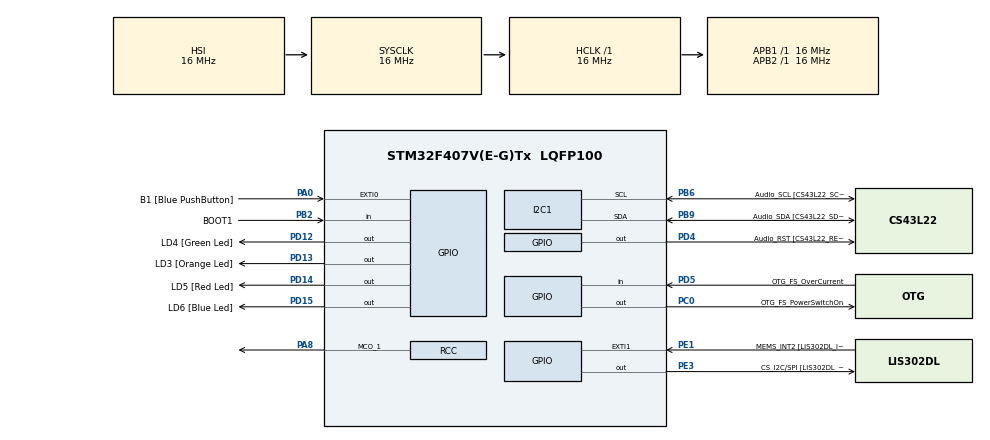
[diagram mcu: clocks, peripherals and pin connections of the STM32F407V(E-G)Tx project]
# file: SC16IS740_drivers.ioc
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Mcu.Family=STM32F4
Mcu.Name=STM32F407V(E-G)Tx
Mcu.Package=LQFP100
NVIC.PriorityGroup=NVIC_PRIORITYGROUP_0
PA0-WKUP.GPIO_Label=B1 [Blue PushButton]
PA0-WKUP.GPIO_ModeDefaultEXTI=GPIO_MODE_EVT_RISING
PA0-WKUP.GPIO_PuPd=GPIO_NOPULL
PA0-WKUP.Signal=GPXTI0
PA10.GPIO_Label=OTG_FS_ID
PA10.GPIO_Mode=GPIO_MODE_AF_PP
PA10.GPIO_PuPd=GPIO_NOPULL
PA10.GPIO_Speed=GPIO_SPEED_FREQ_LOW
PA10.Signal=USB_OTG_FS_ID
PA11.GPIO_Label=OTG_FS_DM
PA11.GPIO_Mode=GPIO_MODE_AF_PP
PA11.GPIO_PuPd=GPIO_NOPULL
PA11.GPIO_Speed=GPIO_SPEED_FREQ_LOW
PA11.Signal=USB_OTG_FS_DM
PA12.GPIO_Label=OTG_FS_DP
PA12.GPIO_Mode=GPIO_MODE_AF_PP
PA12.GPIO_PuPd=GPIO_NOPULL
PA12.GPIO_Speed=GPIO_SPEED_FREQ_LOW
PA12.Signal=USB_OTG_FS_DP
PA13.GPIO_Label=SWDIO
PA13.Mode=Serial_Wire
PA13.Signal=SYS_JTMS-SWDIO
PA14.GPIO_Label=SWCLK
PA14.Mode=Serial_Wire
PA14.Signal=SYS_JTCK-SWCLK
PA4.GPIO_Label=I2S3_WS [CS43L22_LRCK]
PA4.GPIO_Mode=GPIO_MODE_AF_PP
PA4.GPIO_PuPd=GPIO_NOPULL
PA4.GPIO_Speed=GPIO_SPEED_FREQ_LOW
PA4.Signal=I2S3_WS
PA5.GPIO_Label=SPI1_SCK [LIS302DL_SCL/SPC]
PA5.GPIO_Mode=GPIO_MODE_AF_PP
PA5.GPIO_PuPd=GPIO_NOPULL
PA5.GPIO_Speed=GPIO_SPEED_FREQ_LOW
PA5.Signal=SPI1_SCK
PA6.GPIO_Label=SPI1_MISO [LIS302DL_SDO]
PA6.GPIO_Mode=GPIO_MODE_AF_PP
PA6.GPIO_PuPd=GPIO_NOPULL
PA6.GPIO_Speed=GPIO_SPEED_FREQ_LOW
PA6.Signal=SPI1_MISO
PA7.GPIO_Label=SPI1_MOSI [LIS302DL_SDA/SDI/SDO]
PA7.GPIO_Mode=GPIO_MODE_AF_PP
PA7.GPIO_PuPd=GPIO_NOPULL
PA7.GPIO_Speed=GPIO_SPEED_FREQ_LOW
PA7.Signal=SPI1_MOSI
PA8.Mode=Clock-out-1
PA8.Signal=RCC_MCO_1
PA9.GPIO_Label=VBUS_FS
PA9.GPIO_Mode=GPIO_MODE_INPUT
PA9.GPIO_PuPd=GPIO_NOPULL
PA9.Signal=USB_OTG_FS_VBUS
PB10.GPIO_Label=CLK_IN [MP45DT02_CLK]
PB10.GPIO_Mode=GPIO_MODE_AF_PP
PB10.GPIO_PuPd=GPIO_NOPULL
PB10.GPIO_Speed=GPIO_SPEED_FREQ_LOW
PB10.Signal=I2S2_CK
PB2.GPIO_Label=BOOT1
PB2.GPIO_Mode=GPIO_MODE_INPUT
PB2.GPIO_PuPd=GPIO_NOPULL
PB2.Signal=GPIO_Input
PB3.GPIO_Label=SWO
PB3.Signal=SYS_JTDO-SWO
PB6.GPIO_Label=Audio_SCL [CS43L22_SCL]
PB6.GPIO_Mode=GPIO_MODE_AF_OD
PB6.GPIO_Pu=GPIO_PULLUP
PB6.GPIO_PuPd=GPIO_NOPULL
PB6.GPIO_Speed=GPIO_SPEED_FREQ_LOW
PB6.Mode=I2C
PB6.Signal=I2C1_SCL
PB9.GPIO_Label=Audio_SDA [CS43L22_SDA]
PB9.GPIO_Mode=GPIO_MODE_AF_OD
PB9.GPIO_Pu=GPIO_PULLUP
PB9.GPIO_PuPd=GPIO_NOPULL
PB9.GPIO_Speed=GPIO_SPEED_FREQ_LOW
PB9.Mode=I2C
PB9.Signal=I2C1_SDA
PC0.GPIO_Label=OTG_FS_PowerSwitchOn
PC0.GPIO_PuPd=GPIO_NOPULL
PC0.GPIO_Speed=GPIO_SPEED_FREQ_LOW
PC0.PinState=GPIO_PIN_SET
PC0.Signal=GPIO_Output
PC10.GPIO_Label=I2S3_SCK [CS43L22_SCLK]
PC10.GPIO_Mode=GPIO_MODE_AF_PP
PC10.GPIO_PuPd=GPIO_NOPULL
PC10.GPIO_Speed=GPIO_SPEED_FREQ_LOW
PC10.Signal=I2S3_CK
PC12.GPIO_Label=I2S3_SD [CS43L22_SDIN]
PC12.GPIO_Mode=GPIO_MODE_AF_PP
PC12.GPIO_PuPd=GPIO_NOPULL
PC12.GPIO_Speed=GPIO_SPEED_FREQ_LOW
PC12.Signal=I2S3_SD
PC14-OSC32_IN.GPIO_Label=PC14-OSC32_IN
PC14-OSC32_IN.Mode=LSE-External-Oscillator
PC14-OSC32_IN.Signal=RCC_OSC32_IN
PC15-OSC32_OUT.GPIO_Label=PC15-OSC32_OUT
PC15-OSC32_OUT.Mode=LSE-External-Oscillator
PC15-OSC32_OUT.Signal=RCC_OSC32_OUT
PC3.GPIO_Label=PDM_OUT [MP45DT02_DOUT]
PC3.GPIO_Mode=GPIO_MODE_AF_PP
PC3.GPIO_PuPd=GPIO_NOPULL
PC3.GPIO_Speed=GPIO_SPEED_FREQ_LOW
PC3.Signal=I2S2_SD
PC7.GPIO_Label=I2S3_MCK [CS43L22_MCLK]
PC7.GPIO_Mode=GPIO_MODE_AF_PP
PC7.GPIO_PuPd=GPIO_NOPULL
PC7.GPIO_Speed=GPIO_SPEED_FREQ_LOW
PC7.Signal=I2S3_MCK
PD12.GPIO_Label=LD4 [Green Led]
PD12.GPIO_PuPd=GPIO_NOPULL
PD12.GPIO_Speed=GPIO_SPEED_FREQ_LOW
PD12.Signal=GPIO_Output
PD13.GPIO_Label=LD3 [Orange Led]
PD13.GPIO_PuPd=GPIO_NOPULL
PD13.GPIO_Speed=GPIO_SPEED_FREQ_LOW
PD13.Signal=GPIO_Output
PD14.GPIO_Label=LD5 [Red Led]
PD14.GPIO_PuPd=GPIO_NOPULL
PD14.GPIO_Speed=GPIO_SPEED_FREQ_LOW
PD14.Signal=GPIO_Output
PD15.GPIO_Label=LD6 [Blue Led]
PD15.GPIO_PuPd=GPIO_NOPULL
PD15.GPIO_Speed=GPIO_SPEED_FREQ_LOW
PD15.Signal=GPIO_Output
PD4.GPIO_Label=Audio_RST [CS43L22_RESET]
PD4.GPIO_PuPd=GPIO_NOPULL
PD4.GPIO_Speed=GPIO_SPEED_FREQ_LOW
PD4.Signal=GPIO_Output
PD5.GPIO_Label=OTG_FS_OverCurrent
PD5.GPIO_Mode=GPIO_MODE_INPUT
PD5.GPIO_PuPd=GPIO_NOPULL
PD5.Signal=GPIO_Input
PE1.GPIO_Label=MEMS_INT2 [LIS302DL_INT2]
PE1.GPIO_ModeDefaultEXTI=GPIO_MODE_EVT_RISING
PE1.GPIO_PuPd=GPIO_NOPULL
PE1.Signal=GPXTI1
PE3.GPIO_Label=CS_I2C/SPI [LIS302DL_CS_I2C/SPI]
PE3.GPIO_PuPd=GPIO_NOPULL
PE3.GPIO_Speed=GPIO_SPEED_FREQ_LOW
PE3.Signal=GPIO_Output
PH0-OSC_IN.GPIO_Label=PH0-OSC_IN
PH0-OSC_IN.Mode=HSE-External-Oscillator
PH0-OSC_IN.Signal=RCC_OSC_IN
PH1-OSC_OUT.GPIO_Label=PH1-OSC_OUT
PH1-OSC_OUT.Mode=HSE-External-Oscillator
PH1-OSC_OUT.Signal=RCC_OSC_OUT
ProjectManager.HeapSize=0x200
ProjectManager.StackSize=0x400
ProjectManager.TargetToolchain=STM32CubeIDE
RCC.48MHZClocksFreq_Value=48000000
RCC.AHBFreq_Value=16000000
RCC.APB1Freq_Value=16000000
RCC.APB1TimFreq_Value=16000000
RCC.APB2Freq_Value=16000000
RCC.APB2TimFreq_Value=16000000
RCC.CortexFreq_Value=16000000
RCC.HCLKFreq_Value=16000000
RCC.HSE_VALUE=8000000
RCC.HSI_VALUE=16000000
RCC.PLLM=8
RCC.PLLN=336
RCC.PLLQ=7
RCC.PLLSourceVirtual=RCC_PLLSOURCE_HSE
RCC.SYSCLKFreq_VALUE=16000000
RCC.VCOOutputFreq_Value=336000000
board=STM32F407G-DISC1

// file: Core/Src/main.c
/* USER CODE BEGIN Header */
/**
  ******************************************************************************
  * @file           : main.c
  * @brief          : Main program body
  ******************************************************************************
  * @attention
  *
  * Copyright (c) 2025 STMicroelectronics.
  * All rights reserved.
  *
  * This software is licensed under terms that can be found in the LICENSE file
  * in the root directory of this software component.
  * If no LICENSE file comes with this software, it is provided AS-IS.
  *
  ******************************************************************************
  */
/* USER CODE END Header */
#include "main.h"
#include "i2c.h"
#include "gpio.h"

/* USER CODE BEGIN Includes */
#include "SC16IS740.h"
#include <stdint.h>
#include <stdio.h>
/* USER CODE END Includes */

void SystemClock_Config(void);
/* USER CODE BEGIN PFP */
IS740error_t SendToBridge(uint8_t addr, uint8_t *buffer, uint8_t size);
IS740error_t ReadFromBridge(uint8_t addr, uint8_t *buffer, uint8_t size);
void delayMs(uint32_t t);
/* USER CODE END PFP */

int main(void)
{

  /* MCU Configuration--------------------------------------------------------*/

  /* Reset of all peripherals, Initializes the Flash interface and the Systick. */
  HAL_Init();

  /* Configure the system clock */
  SystemClock_Config();

  /* Initialize all configured peripherals */
  MX_GPIO_Init();
  MX_I2C1_Init();
  /* USER CODE BEGIN 2 */
	IS740handle_t bridge;
	bridge.readFunc= ReadFromBridge;
	bridge.writeFunc = SendToBridge;
	bridge.config.baudRate = 9600;
	bridge.config.parity = IS740_PARITY_NONE;
	bridge.config.stopBits = IS740_STOPLEN_1;
	bridge.config.wordLen = IS740_WORDLEN_8;

	uint32_t pclk1 = HAL_RCC_GetPCLK1Freq();
	IS740_setBaudRate(&bridge, pclk1);
	IS740_init(&bridge);

	uint8_t string[] = "Hello World!\n";
	uint8_t rxbuf[64];

	delayMs(10);
	IS740_transmit64(&bridge, string, sizeof(string));
	delayMs(20);
	IS740_receive64(&bridge, rxbuf, sizeof(string));
	printf("DATA: %s", rxbuf);
  /* USER CODE END 2 */

  /* Infinite loop */
  while (1)
  {

  }
}

void SystemClock_Config(void)
{
  RCC_OscInitTypeDef RCC_OscInitStruct = {0};
  RCC_ClkInitTypeDef RCC_ClkInitStruct = {0};

  /** Configure the main internal regulator output voltage
  */
  __HAL_RCC_PWR_CLK_ENABLE();
  __HAL_PWR_VOLTAGESCALING_CONFIG(PWR_REGULATOR_VOLTAGE_SCALE1);

  /** Initializes the RCC Oscillators according to the specified parameters
  * in the RCC_OscInitTypeDef structure.
  */
  RCC_OscInitStruct.OscillatorType = RCC_OSCILLATORTYPE_HSI;
  RCC_OscInitStruct.HSIState = RCC_HSI_ON;
  RCC_OscInitStruct.HSICalibrationValue = RCC_HSICALIBRATION_DEFAULT;
  RCC_OscInitStruct.PLL.PLLState = RCC_PLL_NONE;
  if (HAL_RCC_OscConfig(&RCC_OscInitStruct) != HAL_OK)
  {
    Error_Handler();
  }

  /** Initializes the CPU, AHB and APB buses clocks
  */
  RCC_ClkInitStruct.ClockType = RCC_CLOCKTYPE_HCLK|RCC_CLOCKTYPE_SYSCLK
                              |RCC_CLOCKTYPE_PCLK1|RCC_CLOCKTYPE_PCLK2;
  RCC_ClkInitStruct.SYSCLKSource = RCC_SYSCLKSOURCE_HSI;
  RCC_ClkInitStruct.AHBCLKDivider = RCC_SYSCLK_DIV1;
  RCC_ClkInitStruct.APB1CLKDivider = RCC_HCLK_DIV1;
  RCC_ClkInitStruct.APB2CLKDivider = RCC_HCLK_DIV1;

  if (HAL_RCC_ClockConfig(&RCC_ClkInitStruct, FLASH_LATENCY_0) != HAL_OK)
  {
    Error_Handler();
  }
  HAL_RCC_MCOConfig(RCC_MCO1, RCC_MCO1SOURCE_HSI, RCC_MCODIV_1);
}

/* USER CODE BEGIN 4 */
IS740error_t SendToBridge(uint8_t addr, uint8_t *buffer, uint8_t size){
	HAL_StatusTypeDef status;
	status = HAL_I2C_Mem_Write(&hi2c1, 0x90, addr, 1, buffer, size, 1000);
	if(status==HAL_TIMEOUT)
		return IS740_ERROR_TIMEOUT;
	else if(status == HAL_ERROR)
		return IS740_ERROR_UNKNOWN;

	return IS740_ERROR_NONE;
}
IS740error_t ReadFromBridge(uint8_t addr, uint8_t *buffer, uint8_t size){
	HAL_StatusTypeDef status;
	status = HAL_I2C_Mem_Read(&hi2c1, 0x90, addr, 1, buffer, size, 1000);
	if(status==HAL_TIMEOUT)
		return IS740_ERROR_TIMEOUT;
	else if(status == HAL_ERROR)
		return IS740_ERROR_UNKNOWN;

	return IS740_ERROR_NONE;
}

void delayMs(uint32_t t){
	uint32_t temp = HAL_RCC_GetSysClockFreq();
	// 13.2 clocks/loop * s/clock = s/loop
	// loops = s/(13.2*sysclk) = ms/(13200*sysclk)
	temp = t*temp/13200;
	for(int i=0;i<temp;i++);
}
/* USER CODE END 4 */

void Error_Handler(void)
{
  __disable_irq();
  while (1)
  {
  }
}
